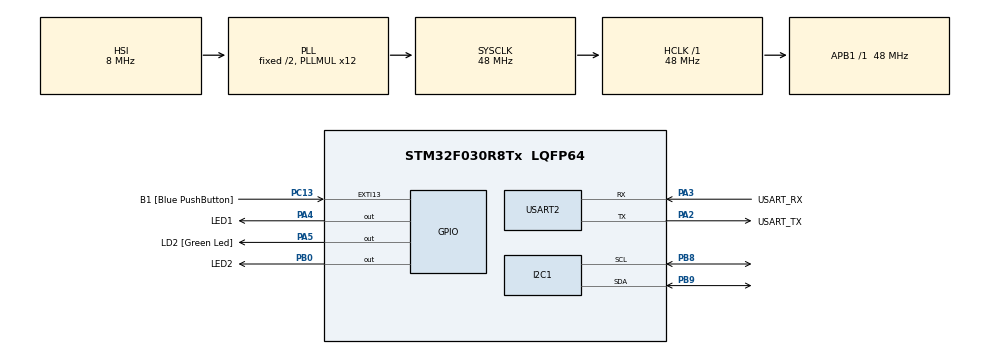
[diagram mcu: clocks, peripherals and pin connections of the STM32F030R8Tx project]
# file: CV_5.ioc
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Dma.Request0=USART2_RX
Dma.USART2_RX.0.Direction=DMA_PERIPH_TO_MEMORY
Dma.USART2_RX.0.Instance=DMA1_Channel5
Dma.USART2_RX.0.MemDataAlignment=DMA_MDATAALIGN_BYTE
Dma.USART2_RX.0.MemInc=DMA_MINC_ENABLE
Dma.USART2_RX.0.Mode=DMA_CIRCULAR
Dma.USART2_RX.0.PeriphDataAlignment=DMA_PDATAALIGN_BYTE
Dma.USART2_RX.0.PeriphInc=DMA_PINC_DISABLE
Dma.USART2_RX.0.Priority=DMA_PRIORITY_LOW
Mcu.Family=STM32F0
Mcu.Name=STM32F030R8Tx
Mcu.Package=LQFP64
NVIC.DMA1_Channel4_5_IRQn=true\:0\:0\:false\:false\:true\:false\:true\:true
PA13.GPIO_Label=TMS
PA13.Mode=Serial_Wire
PA13.Signal=SYS_SWDIO
PA14.GPIO_Label=TCK
PA14.Mode=Serial_Wire
PA14.Signal=SYS_SWCLK
PA2.GPIO_Label=USART_TX
PA2.GPIO_Mode=GPIO_MODE_AF_PP
PA2.GPIO_PuPd=GPIO_NOPULL
PA2.GPIO_Speed=GPIO_SPEED_FREQ_LOW
PA2.Mode=Asynchronous
PA2.Signal=USART2_TX
PA3.GPIO_Label=USART_RX
PA3.GPIO_Mode=GPIO_MODE_AF_PP
PA3.GPIO_PuPd=GPIO_NOPULL
PA3.GPIO_Speed=GPIO_SPEED_FREQ_LOW
PA3.Mode=Asynchronous
PA3.Signal=USART2_RX
PA4.GPIO_Label=LED1
PA4.Signal=GPIO_Output
PA5.GPIO_Label=LD2 [Green Led]
PA5.GPIO_Mode=GPIO_MODE_OUTPUT_PP
PA5.GPIO_PuPd=GPIO_NOPULL
PA5.GPIO_Speed=GPIO_SPEED_FREQ_LOW
PA5.Signal=GPIO_Output
PB0.GPIO_Label=LED2
PB0.Signal=GPIO_Output
PB8.Mode=I2C
PB8.Signal=I2C1_SCL
PB9.Mode=I2C
PB9.Signal=I2C1_SDA
PC13.GPIO_Label=B1 [Blue PushButton]
PC13.GPIO_ModeDefaultEXTI=GPIO_MODE_IT_FALLING
PC13.Signal=GPXTI13
PC14-OSC32_IN.Mode=LSE-External-Oscillator
PC14-OSC32_IN.Signal=RCC_OSC32_IN
PC15-OSC32_OUT.Mode=LSE-External-Oscillator
PC15-OSC32_OUT.Signal=RCC_OSC32_OUT
PF0-OSC_IN.Mode=HSE-External-Clock-Source
PF0-OSC_IN.Signal=RCC_OSC_IN
PF1-OSC_OUT.Signal=RCC_OSC_OUT
ProjectManager.HeapSize=0x200
ProjectManager.StackSize=0x400
ProjectManager.TargetToolchain=STM32CubeIDE
RCC.AHBFreq_Value=48000000
RCC.APB1Freq_Value=48000000
RCC.APB1TimFreq_Value=48000000
RCC.HCLKFreq_Value=48000000
RCC.PLLMUL=RCC_PLL_MUL12
RCC.SYSCLKFreq_VALUE=48000000
RCC.SYSCLKSource=RCC_SYSCLKSOURCE_PLLCLK
USART2.VirtualMode-Asynchronous=VM_ASYNC
board=NUCLEO-F030R8

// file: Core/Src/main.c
/* USER CODE BEGIN Header */
/**
  ******************************************************************************
  * @file           : main.c
  * @brief          : Main program body
  ******************************************************************************
  * @attention
  *
  * Copyright (c) 2022 STMicroelectronics.
  * All rights reserved.
  *
  * This software is licensed under terms that can be found in the LICENSE file
  * in the root directory of this software component.
  * If no LICENSE file comes with this software, it is provided AS-IS.
  *
  ******************************************************************************
  */
/* USER CODE END Header */
#include "main.h"

/* USER CODE BEGIN Includes */

#include <stdio.h>
#include <string.h>
#include <stdlib.h>

/* USER CODE END Includes */

/* USER CODE BEGIN PD */

#define CMD_BUFFER_LEN 256
#define RX_BUFFER_LEN 64
#define EEPROM_ADDR 0xA0

/* USER CODE END PD */

/* USER CODE BEGIN PM */

#define uart_rx_write_ptr (RX_BUFFER_LEN - hdma_usart2_rx.Instance->CNDTR)

/* USER CODE END PM */

I2C_HandleTypeDef hi2c1;

UART_HandleTypeDef huart2;
DMA_HandleTypeDef hdma_usart2_rx;

/* USER CODE BEGIN PV */

static uint8_t uart_rx_buf[RX_BUFFER_LEN];
static volatile uint16_t uart_rx_read_ptr = 0;

/* USER CODE END PV */

void SystemClock_Config(void);
static void MX_GPIO_Init(void);
static void MX_DMA_Init(void);
static void MX_USART2_UART_Init(void);
static void MX_I2C1_Init(void);
/* USER CODE BEGIN PFP */

int _write(int file, char const *buf, int n)
{
	/* stdout redirection to UART2 */
	HAL_UART_Transmit(&huart2, (uint8_t*)(buf), n, HAL_MAX_DELAY);
	return n;
}

static void uart_process_command(char *cmd)	//pro vypis
{
	/*2.3
	printf("prijato: '%s'\n", cmd);
	*/
	/*2.4*/
	char *token;
	token = strtok(cmd, " ");
	uint16_t addr;   //16 bitova adresa
	uint8_t value;	 //8 bitova hodnota
	uint8_t valueDump[16];

	if (strcasecmp(token, "HELLO") == 0) {
		printf("Komunikace OK\n");

	} else if (strcasecmp(token, "LED1") == 0) {        //nastaveni LED1
		token = strtok(NULL, " ");

		if (strcasecmp(token, "ON") == 0) {
			HAL_GPIO_WritePin(LED1_GPIO_Port, LED1_Pin, GPIO_PIN_SET); //nastaveni do 1 GPIO_PIN_SET
		} else if (strcasecmp(token, "OFF") == 0) {
			HAL_GPIO_WritePin(LED1_GPIO_Port, LED1_Pin, GPIO_PIN_RESET); // GPIO_PIN_RESET nastaveni do 0
		}

		printf("OK \n");

	} else if (strcasecmp(token, "LED2") == 0) {
		token = strtok(NULL, " ");

		if (strcasecmp(token, "ON") == 0) {
			HAL_GPIO_WritePin(LED2_GPIO_Port, LED2_Pin, GPIO_PIN_SET);
		} else if (strcasecmp(token, "OFF") == 0) {
			HAL_GPIO_WritePin(LED2_GPIO_Port, LED2_Pin, GPIO_PIN_RESET);
		}

		printf("OK \n");

	} else if (strcasecmp(token, "STATUS") == 0) {
		token = strtok(NULL, " ");
		uint8_t state_led;

		state_led = HAL_GPIO_ReadPin(LED1_GPIO_Port, LED1_Pin);
		if(state_led != 0) {
			printf("LED1 sviti \n");
		} else {
			printf("LED1 nesviti \n");
		}

		state_led = HAL_GPIO_ReadPin(LED2_GPIO_Port, LED2_Pin);
		if(state_led != 0) {
			printf("LED2 sviti\n");
		} else {
			printf("LED2 nesviti\n");
		}
	} else if (strcasecmp(token, "READ") == 0 ) {
		token = strtok(NULL, " ");

		addr = atoi(token); //string to int
		HAL_I2C_Mem_Read(&hi2c1, EEPROM_ADDR, addr, I2C_MEMADD_SIZE_16BIT, &value, 1, 1000);

		printf("Adresa: 0x%04X Hodnota: 0x%02X\n", addr, value);

	} else if (strcasecmp(token, "WRITE") == 0 ) {
		token = strtok(NULL, " ");
		addr = atoi(token);			//ziskani zadane adresy

		token = strtok(NULL, " ");
		value = atoi(token);		//ziskani hodnoty pro ulozeni na adresu

		HAL_I2C_Mem_Write(&hi2c1, EEPROM_ADDR, addr, I2C_MEMADD_SIZE_16BIT, &value, 1, 1000);

		/* Check if the EEPROM is ready for a new operation */
		while (HAL_I2C_IsDeviceReady(&hi2c1, EEPROM_ADDR, 300, 1000) == HAL_TIMEOUT) {}

		printf("OK\n");

	} else if (strcasecmp(token, "DUMP") == 0 ) {
		HAL_I2C_Mem_Read(&hi2c1, EEPROM_ADDR, 0, I2C_MEMADD_SIZE_16BIT,  valueDump, 16, 1000);

		for (int i = 0; i < 16; i++){
			printf("%02X ", valueDump[i]);
			if ((i % 8) == 7) printf("\n");
		}
	} else {
		printf ("neznamy prikaz\n");
	}
}

static void uart_byte_available(uint8_t c)
{
	static uint16_t cnt;
	static char data[CMD_BUFFER_LEN];

	if (cnt < CMD_BUFFER_LEN && c >= 32 && c <= 126) data[cnt++] = c;
	if ((c == '\n' || c == '\r') && cnt > 0) {
		data[cnt] = '\0';
		uart_process_command(data);
		cnt = 0;
	}
}

/* USER CODE END PFP */

int main(void)
{

  /* MCU Configuration--------------------------------------------------------*/

  /* Reset of all peripherals, Initializes the Flash interface and the Systick. */
  HAL_Init();

  /* Configure the system clock */
  SystemClock_Config();

  /* Initialize all configured peripherals */
  MX_GPIO_Init();
  MX_DMA_Init();
  MX_USART2_UART_Init();
  MX_I2C1_Init();
  /* USER CODE BEGIN 2 */

  HAL_UART_Receive_DMA(&huart2, uart_rx_buf, RX_BUFFER_LEN);		//aktivace  DMA

  /* USER CODE END 2 */

  /* Infinite loop */
  while (1)
  {

    /* USER CODE BEGIN 3 */

	  while (uart_rx_read_ptr != uart_rx_write_ptr) {
		  uint8_t b = uart_rx_buf[uart_rx_read_ptr];
		  if (++uart_rx_read_ptr >= RX_BUFFER_LEN) uart_rx_read_ptr = 0; // increase read pointer

		  uart_byte_available(b); // process every received byte with the RX state machine
	  }

	  /*2.2 UART LOOPBACK
	  uint8_t c;
	  HAL_UART_Receive(&huart2, &c, 1, HAL_MAX_DELAY);		//prijem 1B co C
	  HAL_UART_Transmit(&huart2, &c, 1, HAL_MAX_DELAY);		//odeslani dat z C
	  */
  }
  /* USER CODE END 3 */
}

void SystemClock_Config(void)
{
  RCC_OscInitTypeDef RCC_OscInitStruct = {0};
  RCC_ClkInitTypeDef RCC_ClkInitStruct = {0};
  RCC_PeriphCLKInitTypeDef PeriphClkInit = {0};

  /** Initializes the RCC Oscillators according to the specified parameters
  * in the RCC_OscInitTypeDef structure.
  */
  RCC_OscInitStruct.OscillatorType = RCC_OSCILLATORTYPE_HSI;
  RCC_OscInitStruct.HSIState = RCC_HSI_ON;
  RCC_OscInitStruct.HSICalibrationValue = RCC_HSICALIBRATION_DEFAULT;
  RCC_OscInitStruct.PLL.PLLState = RCC_PLL_ON;
  RCC_OscInitStruct.PLL.PLLSource = RCC_PLLSOURCE_HSI;
  RCC_OscInitStruct.PLL.PLLMUL = RCC_PLL_MUL12;
  RCC_OscInitStruct.PLL.PREDIV = RCC_PREDIV_DIV1;
  if (HAL_RCC_OscConfig(&RCC_OscInitStruct) != HAL_OK)
  {
    Error_Handler();
  }

  /** Initializes the CPU, AHB and APB buses clocks
  */
  RCC_ClkInitStruct.ClockType = RCC_CLOCKTYPE_HCLK|RCC_CLOCKTYPE_SYSCLK
                              |RCC_CLOCKTYPE_PCLK1;
  RCC_ClkInitStruct.SYSCLKSource = RCC_SYSCLKSOURCE_PLLCLK;
  RCC_ClkInitStruct.AHBCLKDivider = RCC_SYSCLK_DIV1;
  RCC_ClkInitStruct.APB1CLKDivider = RCC_HCLK_DIV1;

  if (HAL_RCC_ClockConfig(&RCC_ClkInitStruct, FLASH_LATENCY_1) != HAL_OK)
  {
    Error_Handler();
  }
  PeriphClkInit.PeriphClockSelection = RCC_PERIPHCLK_I2C1;
  PeriphClkInit.I2c1ClockSelection = RCC_I2C1CLKSOURCE_HSI;
  if (HAL_RCCEx_PeriphCLKConfig(&PeriphClkInit) != HAL_OK)
  {
    Error_Handler();
  }
}

static void MX_I2C1_Init(void)
{

  hi2c1.Instance = I2C1;
  hi2c1.Init.Timing = 0x2000090E;
  hi2c1.Init.OwnAddress1 = 0;
  hi2c1.Init.AddressingMode = I2C_ADDRESSINGMODE_7BIT;
  hi2c1.Init.DualAddressMode = I2C_DUALADDRESS_DISABLE;
  hi2c1.Init.OwnAddress2 = 0;
  hi2c1.Init.OwnAddress2Masks = I2C_OA2_NOMASK;
  hi2c1.Init.GeneralCallMode = I2C_GENERALCALL_DISABLE;
  hi2c1.Init.NoStretchMode = I2C_NOSTRETCH_DISABLE;
  if (HAL_I2C_Init(&hi2c1) != HAL_OK)
  {
    Error_Handler();
  }

  /** Configure Analogue filter
  */
  if (HAL_I2CEx_ConfigAnalogFilter(&hi2c1, I2C_ANALOGFILTER_ENABLE) != HAL_OK)
  {
    Error_Handler();
  }

  /** Configure Digital filter
  */
  if (HAL_I2CEx_ConfigDigitalFilter(&hi2c1, 0) != HAL_OK)
  {
    Error_Handler();
  }

}

static void MX_USART2_UART_Init(void)
{

  huart2.Instance = USART2;
  huart2.Init.BaudRate = 38400;
  huart2.Init.WordLength = UART_WORDLENGTH_8B;
  huart2.Init.StopBits = UART_STOPBITS_1;
  huart2.Init.Parity = UART_PARITY_NONE;
  huart2.Init.Mode = UART_MODE_TX_RX;
  huart2.Init.HwFlowCtl = UART_HWCONTROL_NONE;
  huart2.Init.OverSampling = UART_OVERSAMPLING_16;
  huart2.Init.OneBitSampling = UART_ONE_BIT_SAMPLE_DISABLE;
  huart2.AdvancedInit.AdvFeatureInit = UART_ADVFEATURE_NO_INIT;
  if (HAL_UART_Init(&huart2) != HAL_OK)
  {
    Error_Handler();
  }

}

static void MX_DMA_Init(void)
{

  /* DMA controller clock enable */
  __HAL_RCC_DMA1_CLK_ENABLE();

  /* DMA interrupt init */
  /* DMA1_Channel4_5_IRQn interrupt configuration */
  HAL_NVIC_SetPriority(DMA1_Channel4_5_IRQn, 0, 0);
  HAL_NVIC_EnableIRQ(DMA1_Channel4_5_IRQn);

}

static void MX_GPIO_Init(void)
{
  GPIO_InitTypeDef GPIO_InitStruct = {0};

  /* GPIO Ports Clock Enable */
  __HAL_RCC_GPIOC_CLK_ENABLE();
  __HAL_RCC_GPIOF_CLK_ENABLE();
  __HAL_RCC_GPIOA_CLK_ENABLE();
  __HAL_RCC_GPIOB_CLK_ENABLE();

  /*Configure GPIO pin Output Level */
  HAL_GPIO_WritePin(GPIOA, GPIO_PIN_4|GPIO_PIN_5, GPIO_PIN_RESET);

  /*Configure GPIO pin Output Level */
  HAL_GPIO_WritePin(GPIOB, GPIO_PIN_0, GPIO_PIN_RESET);

  /*Configure GPIO pin : PC13 */
  GPIO_InitStruct.Pin = GPIO_PIN_13;
  GPIO_InitStruct.Mode = GPIO_MODE_IT_FALLING;
  GPIO_InitStruct.Pull = GPIO_NOPULL;
  HAL_GPIO_Init(GPIOC, &GPIO_InitStruct);

  /*Configure GPIO pins : PA4 PA5 */
  GPIO_InitStruct.Pin = GPIO_PIN_4|GPIO_PIN_5;
  GPIO_InitStruct.Mode = GPIO_MODE_OUTPUT_PP;
  GPIO_InitStruct.Pull = GPIO_NOPULL;
  GPIO_InitStruct.Speed = GPIO_SPEED_FREQ_LOW;
  HAL_GPIO_Init(GPIOA, &GPIO_InitStruct);

  /*Configure GPIO pin : PB0 */
  GPIO_InitStruct.Pin = GPIO_PIN_0;
  GPIO_InitStruct.Mode = GPIO_MODE_OUTPUT_PP;
  GPIO_InitStruct.Pull = GPIO_NOPULL;
  GPIO_InitStruct.Speed = GPIO_SPEED_FREQ_LOW;
  HAL_GPIO_Init(GPIOB, &GPIO_InitStruct);

}

void Error_Handler(void)
{
  __disable_irq();
  while (1)
  {
  }
}
